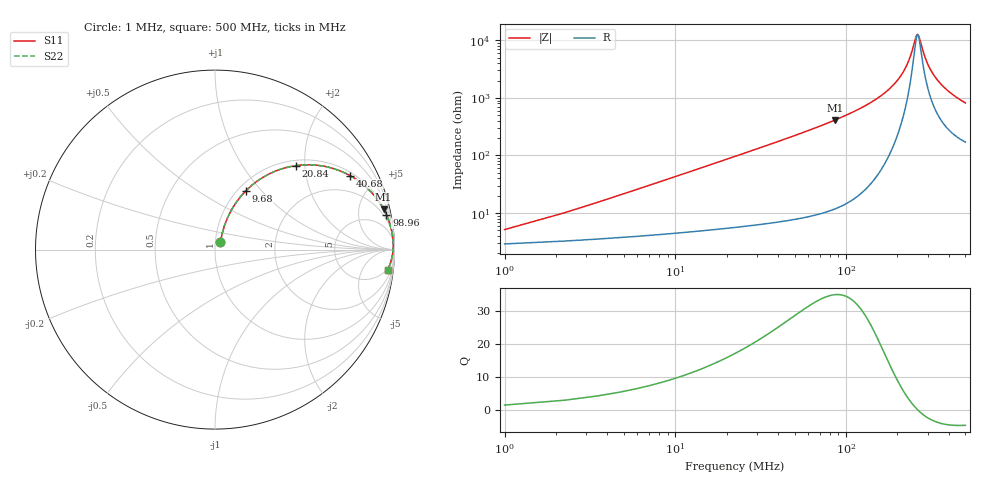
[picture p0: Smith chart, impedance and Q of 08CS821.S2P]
! Coilcraft 0805CS-821 Chip Inductor
! 11 June 2002
# MHZ S MA R 50
!Freq  MagS11  AngS11  MagS21  AngS21  MagS12  AngS12  MagS22  AngS22
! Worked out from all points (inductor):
!   404 points, 1 MHz to 500 MHz, reference 50 ohm
!   read as one part in series: L = 680 nH near 3.48 MHz
!   highest Q = 34.9 at 86.56 MHz (marker M1), where L = 763 nH
!   self-resonance near 262.6 MHz
!   S11 on the Smith chart (normalised r, x): 1 MHz: 1.06, +0.09; 9.68 MHz: 1.09, +0.83; 20.84 MHz: 1.11, +1.79; 40.68 MHz: 1.14, +3.56; 98.96 MHz: 1.29, +9.86; 500 MHz: 4, -16
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1  0.05021 53.3  0.9708 -2.4  0.9708 -2.4  0.05021 53.3
5.96  0.2409 67.4  0.9344 -13.8  0.9344 -13.8  0.2409 67.4
9.68  0.3708 62.3  0.8902 -21.6  0.8902 -21.6  0.3708 62.3
14.64  0.5147 54.6  0.8178 -30.9  0.8178 -30.9  0.5147 54.6
20.84  0.6486 46.1  0.7224 -40.3  0.7224 -40.3  0.6486 46.1
30.76  0.7826 35.9  0.5867 -51.4  0.5867 -51.4  0.7826 35.9
40.68  0.8578 28.7  0.4813 -59.0  0.4813 -59.0  0.8578 28.7
59.28  0.9268 20.3  0.3471 -67.9  0.3471 -67.9  0.9268 20.3
85.32  0.9649 13.7  0.2366 -74.7  0.2366 -74.7  0.9649 13.7
86.56  0.9659 13.4  0.2327 -74.9  0.2327 -74.9  0.9659 13.4
98.96  0.9746 11.4  0.1977 -76.9  0.1977 -76.9  0.9746 11.4
168.4  0.9919 4.7  0.08122 -82.0  0.08122 -82.0  0.9919 4.7
219.24  0.9934 1.8  0.03275 -77.5  0.03275 -77.5  0.9934 1.8
236.6  0.9931 1.1  0.01978 -69.1  0.01978 -69.1  0.9931 1.1
251.48  0.9926 0.4  0.01074 -46.4  0.01074 -46.4  0.9926 0.4
258.92  0.9923 0.2  0.008145 -19.3  0.008145 -19.3  0.9923 0.2
265.12  0.992 -0.1  0.008097 10.1  0.008097 10.1  0.992 -0.1
296.12  0.9902 -1.2  0.0229 64.1  0.0229 64.1  0.9902 -1.2
334.56  0.9873 -2.4  0.04391 71.9  0.04391 71.9  0.9873 -2.4
370.52  0.9839 -3.5  0.06211 73.3  0.06211 73.3  0.9839 -3.5
417.64  0.9789 -4.7  0.08405 73.1  0.08405 73.1  0.9789 -4.7
500  0.9685 -6.7  0.1184 71.3  0.1184 71.3  0.9685 -6.7
